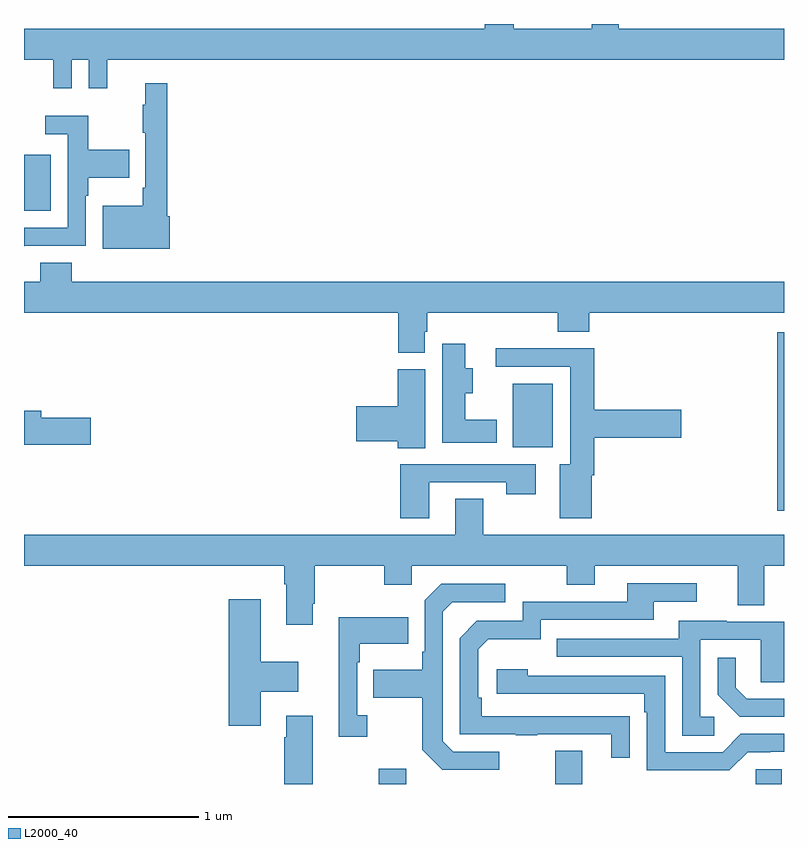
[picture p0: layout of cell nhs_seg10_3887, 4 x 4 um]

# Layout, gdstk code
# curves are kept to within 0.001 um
import gdstk
lib = gdstk.Library(unit=1e-6, precision=1e-09)
def R(c, l, rs):  # rectangles x0, y0, x1, y1
    for r in rs: c.add(gdstk.rectangle(r[:2], r[2:], *l))
def P(c, l, *ps):  # polygons
    for p in ps: c.add(gdstk.Polygon(p, *l))
L2000_40 = (2000, 40)

nhs_seg10_3887 = lib.new_cell('nhs_seg10_3887')
R(nhs_seg10_3887, L2000_40, [(326.866,1300.5,327.013,1300.579), (327.797,1300.5,327.937,1300.675), (328.851,1300.5,328.989,1300.578), (328.964,1301.937,329,1302.877), (327.572,1302.272,327.784,1302.607), (325,1303.517,325.141,1303.813)])
P(nhs_seg10_3887, L2000_40, [(325.251,1304.312),(325.341,1304.312),(325.341,1304.163),(325.439,1304.163),(325.439,1304.312),(329,1304.312),(329,1304.476),(328.129,1304.476),(328.129,1304.5),(327.989,1304.5),(327.989,1304.476),(327.577,1304.476),(327.577,1304.5),(327.425,1304.5),(327.425,1304.476),(325,1304.476),(325,1304.312),(325.154,1304.312),(325.154,1304.163),(325.251,1304.163)],
  [(325.768,1303.487),(325.754,1303.487),(325.754,1304.188),(325.637,1304.188),(325.637,1304.075),(325.626,1304.075),(325.626,1303.927),(325.638,1303.927),(325.638,1303.639),(325.626,1303.639),(325.626,1303.543),(325.415,1303.543),(325.415,1303.316),(325.768,1303.316)],
  [(325.001,1303.332),(325.326,1303.332),(325.326,1303.595),(325.339,1303.595),(325.339,1303.691),(325.553,1303.691),(325.553,1303.839),(325.339,1303.839),(325.339,1304.017),(325.113,1304.017),(325.113,1303.92),(325.23,1303.92),(325.23,1303.428),(325,1303.428),(325,1303.331),(325.001,1303.331)],
  [(327.109,1302.879),(327.122,1302.879),(327.122,1302.98),(327.809,1302.98),(327.809,1302.881),(327.974,1302.881),(327.974,1302.98),(329,1302.98),(329,1303.144),(325.25,1303.144),(325.25,1303.243),(325.085,1303.243),(325.085,1303.144),(325,1303.144),(325,1302.98),(326.969,1302.98),(326.969,1302.769),(327.109,1302.769)],
  [(327.487,1302.418),(327.322,1302.418),(327.322,1302.557),(327.361,1302.557),(327.361,1302.687),(327.322,1302.687),(327.322,1302.817),(327.2,1302.817),(327.2,1302.296),(327.487,1302.296)],
  [(327.988,1302.125),(328.001,1302.125),(328.001,1302.323),(328.459,1302.323),(328.459,1302.47),(328.001,1302.47),(328.001,1302.794),(327.483,1302.794),(327.483,1302.696),(327.875,1302.696),(327.875,1302.184),(327.821,1302.184),(327.821,1301.898),(327.988,1301.898)],
  [(327.112,1302.684),(326.966,1302.684),(326.966,1302.488),(326.748,1302.488),(326.748,1302.305),(326.966,1302.305),(326.966,1302.268),(327.112,1302.268)],
  [(325.351,1302.428),(325.09,1302.428),(325.09,1302.464),(325,1302.464),(325,1302.286),(325.351,1302.286)],
  [(327.133,1302.087),(327.538,1302.087),(327.538,1302.024),(327.694,1302.024),(327.694,1302.183),(326.981,1302.183),(326.981,1301.898),(327.133,1301.898)],
  [(326.521,1301.449),(326.529,1301.449),(326.529,1301.648),(326.896,1301.648),(326.896,1301.549),(327.042,1301.549),(327.042,1301.648),(327.856,1301.648),(327.856,1301.549),(328.003,1301.549),(328.003,1301.648),(328.757,1301.648),(328.757,1301.44),(328.897,1301.44),(328.897,1301.648),(329,1301.648),(329,1301.812),(327.417,1301.812),(327.417,1302.002),(327.269,1302.002),(327.269,1301.812),(325,1301.812),(325,1301.648),(326.369,1301.648),(326.369,1301.552),(326.381,1301.552),(326.381,1301.337),(326.521,1301.337)],
  [(328.187,1300.856),(327.41,1300.857),(327.41,1300.954),(327.39,1300.954),(327.39,1301.208),(327.443,1301.261),(327.72,1301.261),(327.72,1301.364),(328.315,1301.364),(328.315,1301.46),(328.54,1301.46),(328.54,1301.556),(328.175,1301.556),(328.175,1301.46),(327.624,1301.46),(327.624,1301.358),(327.384,1301.358),(327.294,1301.268),(327.294,1300.761),(327.589,1300.761),(327.589,1300.756),(327.701,1300.756),(327.701,1300.761),(328.091,1300.761),(328.091,1300.638),(328.187,1300.638)],
  [(327.502,1300.671),(327.258,1300.671),(327.204,1300.725),(327.204,1301.406),(327.255,1301.457),(327.532,1301.457),(327.532,1301.553),(327.195,1301.553),(327.108,1301.466),(327.108,1301.197),(327.096,1301.197),(327.096,1301.101),(326.839,1301.101),(326.839,1300.954),(327.096,1300.954),(327.096,1300.681),(327.201,1300.575),(327.502,1300.575)],
  [(326.245,1300.985),(326.443,1300.985),(326.443,1301.143),(326.245,1301.143),(326.245,1301.473),(326.078,1301.473),(326.078,1300.806),(326.245,1300.806)],
  [(326.806,1300.862),(326.754,1300.862),(326.754,1301.141),(326.767,1301.141),(326.767,1301.237),(327.023,1301.237),(327.023,1301.377),(326.657,1301.377),(326.657,1300.749),(326.806,1300.749)],
  [(328.633,1300.854),(328.56,1300.854),(328.56,1301.259),(328.878,1301.259),(328.878,1301.035),(329,1301.035),(329,1301.355),(328.699,1301.355),(328.699,1301.359),(328.445,1301.359),(328.445,1301.265),(327.805,1301.265),(327.805,1301.169),(328.464,1301.169),(328.464,1300.753),(328.633,1300.753)],
  [(329,1300.95),(328.804,1300.95),(328.747,1301.007),(328.747,1301.164),(328.65,1301.164),(328.65,1300.97),(328.766,1300.854),(329,1300.854)],
  [(328.809,1300.668),(328.928,1300.668),(328.928,1300.671),(329,1300.671),(329,1300.764),(328.773,1300.764),(328.677,1300.668),(328.374,1300.668),(328.374,1301.07),(327.65,1301.07),(327.65,1301.104),(327.489,1301.104),(327.489,1300.974),(328.265,1300.974),(328.265,1300.877),(328.278,1300.877),(328.278,1300.572),(328.713,1300.572)],
  [(326.521,1300.858),(326.381,1300.858),(326.381,1300.745),(326.369,1300.745),(326.369,1300.5),(326.521,1300.5)])

lib.write_gds('nhs_seg10_3887.gds')
